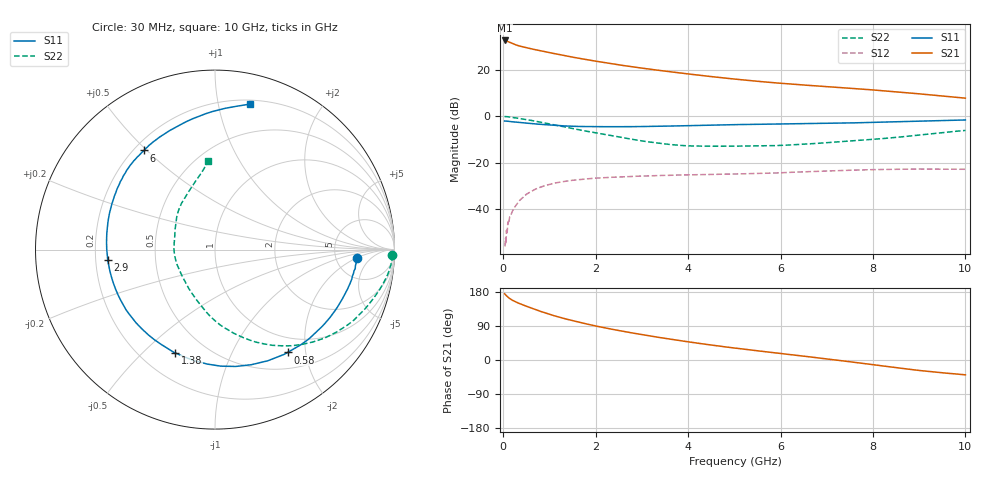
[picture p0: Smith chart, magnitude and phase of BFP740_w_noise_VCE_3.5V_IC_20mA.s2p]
! Infineon Technologies  Discrete & RF Semiconductors
! BFP740
! VCE =  3.5 V,  IC =  20 mA
! Common Emitter S-Parameters:  Jan 2016
# GHz  S  MA  R  50
!  f  S11  S21  S12  S22
! GHz  MAG  ANG  MAG  ANG  MAG  ANG  MAG  ANG
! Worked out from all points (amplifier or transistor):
!   229 points, 30 MHz to 10 GHz, reference 50 ohm
!   highest |S21| = 32.6 dB at 30 MHz (marker M1)
!   |S21| within 3 dB of that: start of sweep to 471.7 MHz
!   unconditionally stable (mu >= 1): 6.55 GHz to end of sweep
!   at 280 MHz: K = 0.25, MSG = 34.5 dB, |S12| = -38.3 dB
!   at 1.78 GHz: K = 0.44, MSG = 25.7 dB, |S12| = -27.0 dB
!   at 10 GHz: K = 1.01, MAG = 14.6 dB, |S12| = -22.8 dB
!   lowest NFmin = 0.68 dB at 450 MHz
!   S11 on the Smith chart (normalised r, x): 30 MHz: 8.11, -1.91; 580 MHz: 0.74, -1.68; 1.38 GHz: 0.34, -0.63; 2.9 GHz: 0.25, -0.05; 6 GHz: 0.24, +0.49; 10 GHz: 0.23, +1.24
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0.03  0.791 -3.2  42.85 174.8  0.0016 76.8  0.9863 -1.8
0.06  0.7875 -6.4  42.17 170.8  0.0018 119.1  0.9839 -4.1
0.11  0.78 -12.1  40.21 165.1  0.0047 88.7  0.9731 -8.1
0.15  0.7714 -16.2  38.61 161.4  0.0068 80.9  0.9599 -10.7
0.2  0.7612 -21.0  36.73 157.6  0.0091 78.2  0.9435 -13.7
0.26  0.7509 -26.7  34.8 153.9  0.0115 75.2  0.9243 -17.0
0.34  0.7378 -33.9  32.77 149.6  0.0148 72.0  0.8996 -21.4
0.58  0.7012 -54.8  28.67 138.3  0.0233 62.7  0.8235 -33.3
0.74  0.6788 -67.8  26.53 131.2  0.0281 57.1  0.7705 -40.6
0.92  0.6583 -81.3  24.38 123.8  0.0326 51.1  0.71 -48.3
1.18  0.6309 -99.0  21.59 114.0  0.0376 44.1  0.6285 -58.2
1.38  0.6169 -110.9  19.71 107.5  0.0403 39.6  0.5739 -64.8
1.7  0.6031 -127.8  17.24 97.9  0.0439 33.8  0.4978 -74.4
2.2  0.5968 -150.0  14.23 84.7  0.0476 27.0  0.4042 -88.8
2.9  0.6004 -174.4  11.23 69.1  0.0513 20.2  0.3062 -107.9
3.4  0.6098 171.1  9.648 59.2  0.0532 16.2  0.2614 -124.0
4.2  0.635 152.0  7.729 44.5  0.0554 11.5  0.2285 -152.4
5.1  0.6633 136.5  6.188 30.2  0.0575 7.8  0.2281 -178.1
6  0.6795 125.6  5.138 17.3  0.0609 5.2  0.2359 162.0
6.8  0.6987 116.2  4.48 5.8  0.0653 1.3  0.2614 146.6
8.4  0.759 93.9  3.427 -18.6  0.0721 -8.9  0.3435 117.4
10  0.833 76.6  2.455 -39.2  0.0723 -18.2  0.4956 94.2
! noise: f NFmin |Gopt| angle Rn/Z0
0.45  0.68  0.07  3  0.22
0.9  0.68  0.08  19  0.21
1.5  0.71  0.08  38  0.21
1.9  0.73  0.08  49  0.2
2.4  0.76  0.08  60  0.19
3.5  0.86  0.08  134  0.18
5.5  1.03  0.18  -118  0.16
10  1.39  0.51  -67  0.23
